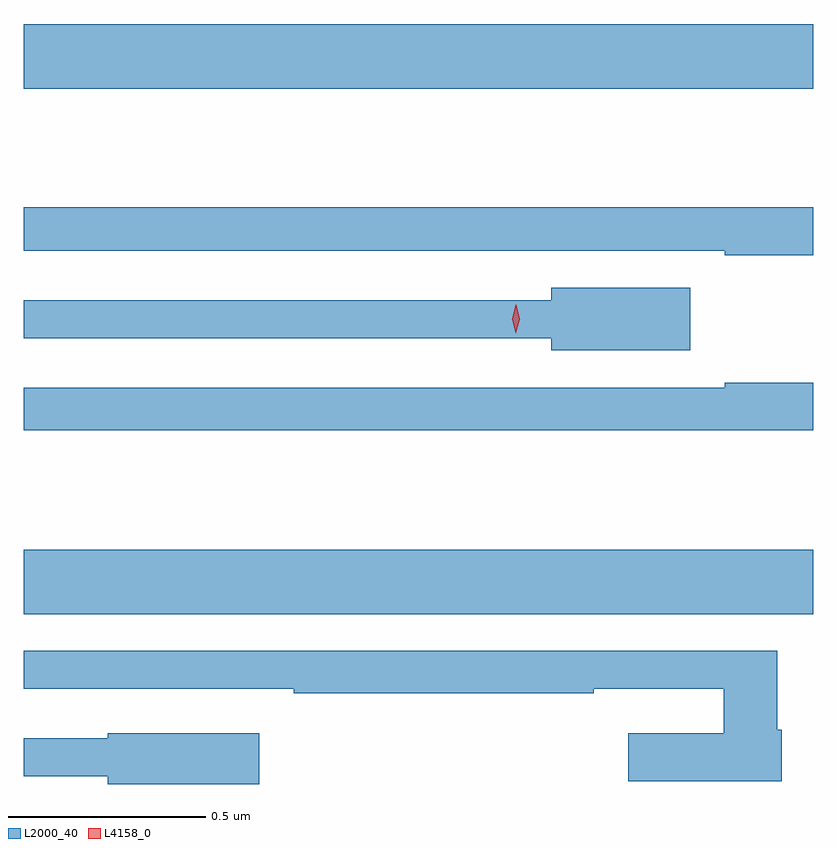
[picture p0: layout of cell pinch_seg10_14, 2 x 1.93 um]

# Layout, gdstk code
import gdstk
lib = gdstk.Library(unit=1e-6, precision=1e-09)
def R(c, l, rs):  # rectangles x0, y0, x1, y1
    for r in rs: c.add(gdstk.rectangle(r[:2], r[2:], *l))
def P(c, l, *ps):  # polygons
    for p in ps: c.add(gdstk.Polygon(p, *l))
L2000_40 = (2000, 40)
L4158_0 = (4158, 0)

pinch_seg10_14 = lib.new_cell('pinch_seg10_14')
R(pinch_seg10_14, L2000_40, [(985.648,1269.68,987.648,1269.844), (985.648,1271.012,987.648,1271.176)])
P(pinch_seg10_14, L2000_40, [(987.648,1270.711),(985.648,1270.711),(985.648,1270.602),(987.424,1270.602),(987.424,1270.59),(987.648,1270.59)],
  [(987.337,1270.507),(986.984,1270.507),(986.984,1270.476),(985.648,1270.476),(985.648,1270.38),(986.984,1270.38),(986.984,1270.349),(987.337,1270.349)],
  [(987.648,1270.267),(987.424,1270.267),(987.424,1270.254),(985.648,1270.254),(985.648,1270.146),(987.648,1270.146)],
  [(987.568,1269.387),(987.557,1269.387),(987.557,1269.588),(985.648,1269.588),(985.648,1269.492),(986.332,1269.492),(986.332,1269.48),(987.092,1269.48),(987.092,1269.492),(987.421,1269.492),(987.421,1269.379),(987.18,1269.379),(987.18,1269.257),(987.568,1269.257)],
  [(986.245,1269.379),(985.86,1269.379),(985.86,1269.366),(985.648,1269.366),(985.648,1269.27),(985.86,1269.27),(985.86,1269.25),(986.245,1269.25)])
P(pinch_seg10_14, L4158_0, [(986.895,1270.392),(986.895,1270.392),(986.885,1270.428),(986.895,1270.464),(986.896,1270.464),(986.896,1270.464),(986.905,1270.428),(986.895,1270.392)])

lib.write_gds('pinch_seg10_14.gds')
